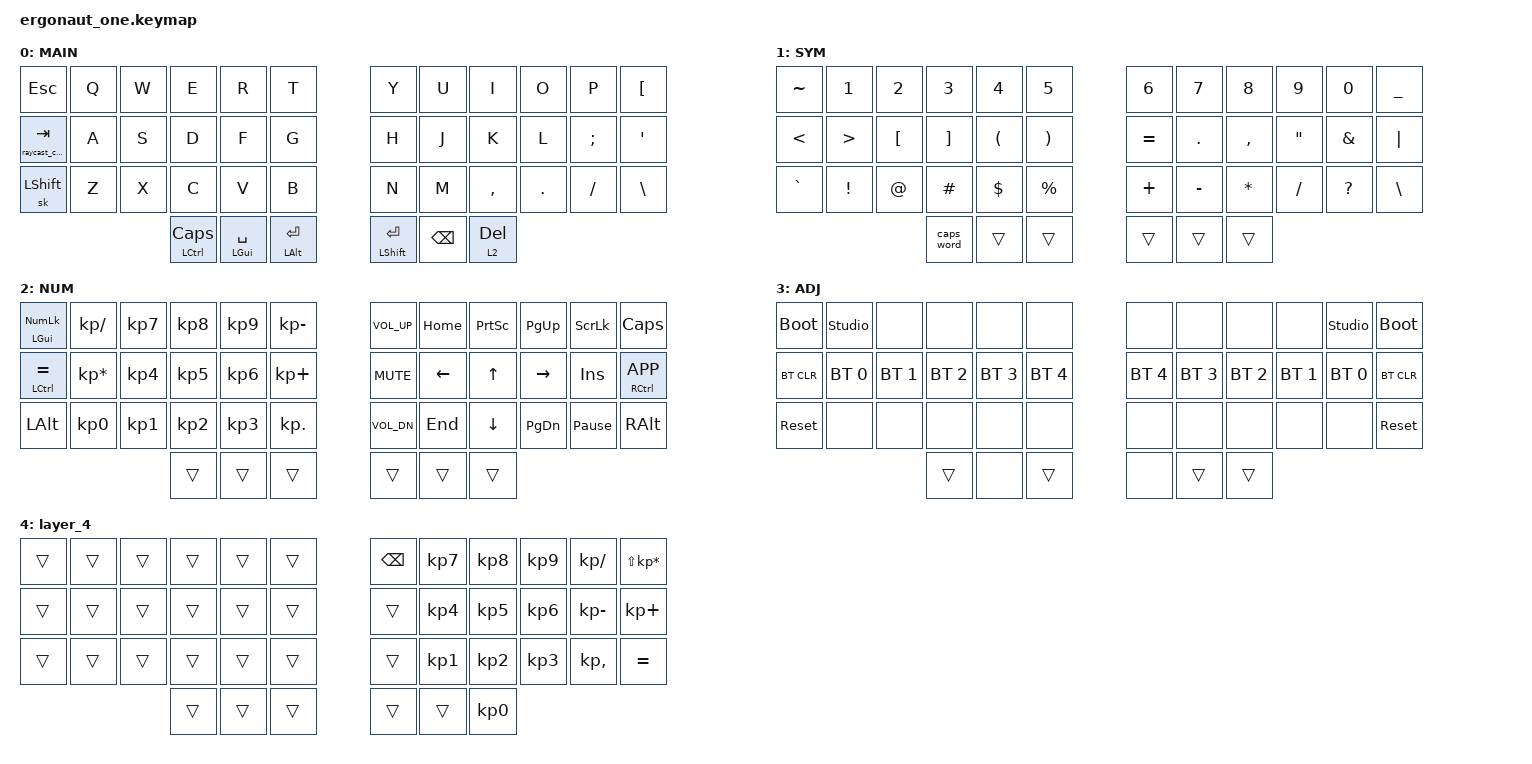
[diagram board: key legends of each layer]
#include <behaviors.dtsi>
#include <dt-bindings/zmk/bt.h>
#include <dt-bindings/zmk/keys.h>

#define DEF 0
#define LWR 1
#define RSE 2
#define ADJ 3

&lt { quick-tap-ms = <200>; };

&mt { quick-tap-ms = <200>; };

/ {
    macros {
        raycast_chord: hold_all_mods {
            compatible = "zmk,behavior-macro";
            #binding-cells = <0>;
            wait-ms = <0>;
            tap-ms = <0>;
            bindings =
                <&macro_press>,
                <&kp LCTRL &kp LSHFT &kp LALT &kp LGUI>,
                <&macro_pause_for_release>,
                <&macro_release>,
                <&kp LCTRL &kp LSHFT &kp LALT &kp LGUI>;
        };

        mission_control_combo: mission_control_combo {
            compatible = "zmk,behavior-macro";
            #binding-cells = <0>;
            bindings = <&kp LC(UP)>;
            label = "MISSION_CONTROL_COMBO";
        };

        layout_change: layout_change_eng {
            compatible = "zmk,behavior-macro";
            #binding-cells = <0>;
            bindings = <&kp CAPS>, <&macro_wait_time 200>, <&tog 0>;

            label = "LAYOUT_CHANGE_ENG";
        };
    };
};

/ {
    conditional_layers {
        compatible = "zmk,conditional-layers";

        tri-layer {
            if-layers = <1 2>;
            then-layer = <3>;
        };
    };

    macros {
    };

    behaviors {
        ht_raycast: ht_raycast {
            compatible = "zmk,behavior-hold-tap";
            label = "HT_RAYCAST";
            bindings = <&raycast_chord>, <&kp>;

            #binding-cells = <2>;
            tapping-term-ms = <200>;
        };
    };

    combos {
        compatible = "zmk,combos";

        BOOT_left {
            bindings = <&bootloader>;
            key-positions = <0 24 12 25 13 1>;
            layers = <0>;
        };

        BOOT_right {
            bindings = <&bootloader>;
            key-positions = <10 11 23 22 34 35>;
            layers = <0>;
        };

        mission_conrol_r {
            bindings = <&mission_control_combo>;
            key-positions = <6 18>;
        };
    };

    keymap {
        compatible = "zmk,keymap";

        default_layer {
            display-name = "MAIN";
            bindings = <
&kp ESCAPE         &kp Q  &kp W  &kp E                      &kp R               &kp T             &kp Y               &kp U          &kp I      &kp O    &kp P     &kp LBKT
&ht_raycast 0 TAB  &kp A  &kp S  &kp D                      &kp F               &kp G             &kp H               &kp J          &kp K      &kp L    &kp SEMI  &kp SQT
&sk LEFT_SHIFT     &kp Z  &kp X  &kp C                      &kp V               &kp B             &kp N               &kp M          &kp COMMA  &kp DOT  &kp FSLH  &kp BSLH
                                 &mt LEFT_CONTROL CAPSLOCK  &mt LEFT_GUI SPACE  &mt LEFT_ALT RET  &mt LEFT_SHIFT RET  &kp BACKSPACE  &lt 2 DEL
            >;
        };

        lower_layer {
            display-name = "SYM";
            bindings = <
&kp TILDE      &kp N1            &kp N2            &kp N3             &kp N4                &kp N5                 &kp N6     &kp N7      &kp N8        &kp N9             &kp N0         &kp UNDERSCORE
&kp LESS_THAN  &kp GREATER_THAN  &kp LEFT_BRACKET  &kp RIGHT_BRACKET  &kp LEFT_PARENTHESIS  &kp RIGHT_PARENTHESIS  &kp EQUAL  &kp PERIOD  &kp COMMA     &kp DOUBLE_QUOTES  &kp AMPERSAND  &kp PIPE
&kp GRAVE      &kp EXCLAMATION   &kp AT_SIGN       &kp HASH           &kp DOLLAR            &kp PERCENT            &kp PLUS   &kp MINUS   &kp ASTERISK  &kp SLASH          &kp QUESTION   &kp BACKSLASH
                                                   &caps_word         &trans                &trans                 &trans     &trans      &trans
            >;
        };

        raise_layer {
            display-name = "NUM";
            bindings = <
&mt LGUI KP_NUM  &kp KP_SLASH     &kp KP_N7  &kp KP_N8  &kp KP_N9  &kp KP_MINUS  &kp C_VOL_UP  &kp HOME  &kp PSCRN  &kp PG_UP  &kp SLCK         &kp CLCK
&mt LCTRL EQUAL  &kp KP_MULTIPLY  &kp KP_N4  &kp KP_N5  &kp KP_N6  &kp KP_PLUS   &kp C_MUTE    &kp LEFT  &kp UP     &kp RIGHT  &kp INS          &mt RCTRL K_APP
&kp LALT         &kp KP_N0        &kp KP_N1  &kp KP_N2  &kp KP_N3  &kp KP_DOT    &kp C_VOL_DN  &kp END   &kp DOWN   &kp PG_DN  &kp PAUSE_BREAK  &kp RALT
                                             &trans     &trans     &trans        &trans        &trans    &trans
            >;
        };

        adjust_layer {
            display-name = "ADJ";
            bindings = <
&bootloader  &studio_unlock  &none         &none         &none         &none         &none         &none         &none         &none         &studio_unlock  &bootloader
&bt BT_CLR   &bt BT_SEL 0    &bt BT_SEL 1  &bt BT_SEL 2  &bt BT_SEL 3  &bt BT_SEL 4  &bt BT_SEL 4  &bt BT_SEL 3  &bt BT_SEL 2  &bt BT_SEL 1  &bt BT_SEL 0    &bt BT_CLR
&sys_reset   &none           &none         &none         &none         &none         &none         &none         &none         &none         &none           &sys_reset
                                           &trans        &none         &trans        &none         &trans        &trans
            >;
        };

        layer_4 {
            bindings = <
&trans  &trans  &trans  &trans  &trans  &trans  &kp BSPC  &kp KP_N7  &kp KP_N8  &kp KP_N9  &kp KP_DIVIDE  &kp LS(KP_ASTERISK)
&trans  &trans  &trans  &trans  &trans  &trans  &trans    &kp KP_N4  &kp KP_N5  &kp KP_N6  &kp KP_MINUS   &kp KP_PLUS
&trans  &trans  &trans  &trans  &trans  &trans  &trans    &kp KP_N1  &kp KP_N2  &kp KP_N3  &kp KP_COMMA   &kp EQUAL
                        &trans  &trans  &trans  &trans    &trans     &kp KP_N0
            >;
        };
    };
};
